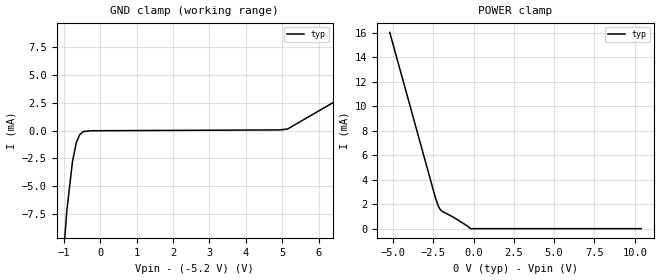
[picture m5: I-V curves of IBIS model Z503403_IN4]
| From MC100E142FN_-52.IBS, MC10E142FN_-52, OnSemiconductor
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| (C) COPYRIGHT 1993-2000
| MENTOR GRAPHICS CORPORATION
| ICX STANDARD LIBRARY, ICX PROJECT MODELING,
| ICX CUSTOM MODELING, ICX VENDOR MODEL
| ALL RIGHTS RESERVED.
| THE FOLLOWING ARE TRADEMARKS OR SERVICE MARKS OF
| MENTOR GRAPHICS CORPORATION:ICX (R), ICX STANDARD
| LIBRARY(R), ICX PROJECT MODELING(R), ICX CUSTOM
| MODELING(R), qualityIBIS(TM), MODELVIEWER(TM),
| AND MODELEDITOR(TM)
| ALL COPIES OF SOFTWARE, INCLUDING BUT NOT LIMITED TO
| ANY MODIFICATIONS, ENHANCEMENTS OR DERIVATIVE WORKS,
| MUST CONTAIN ALL MENTOR GRAPHICS CORPORATION'S
| NOTICES AND LEGENDS, INCLUDING THOSE EMBEDDED IN
| SOFTWARE AND THOSE AFFIXED TO SOFTWARE MEDIUM
| AND CONTAINER, AS RECEIVED FROM MENTOR GRAPHICS
| CORPORATION.
| Model Application Version 1.89 2/18/99.
[Model] Z503403_IN4
Model_type Input_ECL
Vinl = -1.480V
Vinh = -1.130V
C_comp 4.000pF NA NA
| variable typ   min   max
[Voltage Range] -5.200V NA NA
[GND Clamp Reference] -5.200V NA NA
[POWER Clamp Reference] 0.000V NA NA
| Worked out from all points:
|   GND clamp passes 1 mA (typ) near -0.64 V on its own axis
[GND Clamp]
-5.2V     -249.4mA   NA         NA
-1.083V   -14.28mA   NA         NA
-916mV    -7.171mA   NA         NA
-762mV    -2.8mA     NA         NA
-657mV    -1.099mA   NA         NA
-566mV    -381.1uA   NA         NA
-466mV    -92.82uA   NA         NA
-233mV    -19.45uA   NA         NA
4.953V    56.28uA    NA         NA
5.151V    140.4uA    NA         NA
10.4V     10.1mA     NA         NA
[POWER Clamp]
-5.2V     16.03mA    NA         NA
-2.371V   2.557mA    NA         NA
-2.183V   1.838mA    NA         NA
-2.085V   1.602mA    NA         NA
-1.972V   1.438mA    NA         NA
-1.23V    921.7uA    NA         NA
-380.2mV  217.8uA    NA         NA
-190.1mV  0A         NA         NA
10.4V     0A         NA         NA
